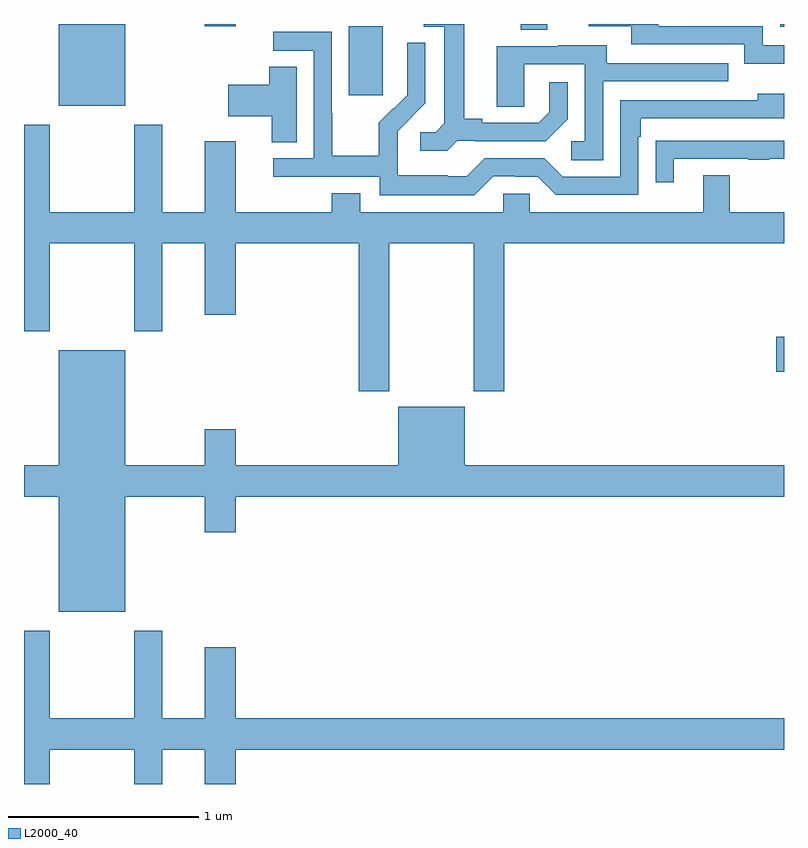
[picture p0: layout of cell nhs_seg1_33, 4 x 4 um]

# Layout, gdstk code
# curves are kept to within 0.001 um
import gdstk
lib = gdstk.Library(unit=1e-6, precision=1e-09)
def R(c, l, rs):  # rectangles x0, y0, x1, y1
    for r in rs: c.add(gdstk.rectangle(r[:2], r[2:], *l))
def P(c, l, *ps):  # polygons
    for p in ps: c.add(gdstk.Polygon(p, *l))
L2000_40 = (2000, 40)

nhs_seg1_33 = lib.new_cell('nhs_seg1_33')
R(nhs_seg1_33, L2000_40, [(114.96,572.369,115,572.552), (111.182,573.77,111.532,574.199), (112.709,573.825,112.888,574.186), (113.615,574.168,113.755,574.199), (114.981,574.185,115,574.199), (111.95,574.188,112.114,574.199)])
P(nhs_seg1_33, L2000_40, [(115,574.086),(114.888,574.086),(114.888,574.188),(114.337,574.188),(114.337,574.199),(113.973,574.199),(113.973,574.188),(114.197,574.188),(114.197,574.092),(114.792,574.092),(114.792,573.989),(115,573.989)],
  [(113.28,573.585),(113.374,573.585),(113.374,573.582),(113.746,573.582),(113.862,573.698),(113.862,573.892),(113.765,573.892),(113.765,573.735),(113.708,573.678),(113.413,573.678),(113.413,573.701),(113.317,573.701),(113.317,574.199),(113.103,574.199),(113.103,574.185),(113.213,574.185),(113.213,573.677),(113.166,573.63),(113.085,573.63),(113.085,573.533),(113.228,573.533)],
  [(113.469,573.399),(113.585,573.399),(113.585,573.396),(113.703,573.396),(113.799,573.3),(114.234,573.3),(114.234,573.605),(114.247,573.605),(114.247,573.702),(115,573.702),(115,573.832),(114.863,573.832),(114.863,573.798),(114.138,573.798),(114.138,573.396),(113.835,573.396),(113.739,573.492),(113.424,573.492),(113.331,573.399),(113.231,573.399),(113.231,573.403),(112.968,573.403),(112.968,573.537),(112.966,573.537),(112.966,573.634),(113.112,573.782),(113.112,574.1),(113.016,574.1),(113.016,573.946),(113.018,573.946),(113.018,573.824),(112.947,573.753),(112.944,573.756),(112.867,573.679),(112.867,573.505),(112.623,573.505),(112.623,573.728),(112.62,573.728),(112.62,574.158),(112.311,574.158),(112.311,574.059),(112.524,574.059),(112.524,573.492),(112.311,573.492),(112.311,573.396),(112.872,573.396),(112.872,573.299),(113.369,573.299)],
  [(114.048,573.897),(114.707,573.897),(114.707,573.993),(114.067,573.993),(114.067,574.087),(113.813,574.087),(113.813,574.083),(113.489,574.083),(113.489,573.763),(113.634,573.763),(113.634,573.987),(113.952,573.987),(113.952,573.582),(113.88,573.582),(113.88,573.481),(114.048,573.481)],
  [(112.435,573.974),(112.292,573.974),(112.292,573.879),(112.074,573.879),(112.074,573.713),(112.304,573.713),(112.304,573.577),(112.435,573.577)],
  [(112.923,573.044),(113.368,573.044),(113.368,572.265),(113.528,572.265),(113.528,573.044),(115,573.044),(115,573.208),(114.715,573.208),(114.715,573.403),(114.575,573.403),(114.575,573.208),(113.661,573.208),(113.661,573.306),(113.523,573.306),(113.523,573.208),(112.771,573.208),(112.771,573.307),(112.619,573.307),(112.619,573.208),(112.114,573.208),(112.114,573.583),(111.95,573.583),(111.95,573.208),(111.727,573.208),(111.727,573.67),(111.58,573.67),(111.58,573.208),(111.135,573.208),(111.135,573.67),(111,573.67),(111,572.583),(111.135,572.583),(111.135,573.044),(111.58,573.044),(111.58,572.583),(111.727,572.583),(111.727,573.044),(111.95,573.044),(111.95,572.67),(112.114,572.67),(112.114,573.044),(112.763,573.044),(112.763,572.265),(112.923,572.265)],
  [(114.421,573.489),(114.811,573.489),(114.811,573.484),(114.923,573.484),(114.923,573.489),(115,573.489),(115,573.585),(114.427,573.585),(114.427,573.584),(114.325,573.584),(114.325,573.366),(114.421,573.366)],
  [(111.532,571.712),(111.95,571.712),(111.95,571.524),(112.114,571.524),(112.114,571.712),(115,571.712),(115,571.876),(113.32,571.876),(113.32,572.185),(112.97,572.185),(112.97,571.876),(112.114,571.876),(112.114,572.065),(111.95,572.065),(111.95,571.876),(111.532,571.876),(111.532,572.482),(111.182,572.482),(111.182,571.876),(111,571.876),(111,571.712),(111.182,571.712),(111.182,571.106),(111.532,571.106)],
  [(111.135,570.38),(111.58,570.38),(111.58,570.199),(111.727,570.199),(111.727,570.38),(111.95,570.38),(111.95,570.199),(112.114,570.199),(112.114,570.38),(115,570.38),(115,570.544),(112.114,570.544),(112.114,570.919),(111.95,570.919),(111.95,570.544),(111.727,570.544),(111.727,571.006),(111.58,571.006),(111.58,570.544),(111.135,570.544),(111.135,571.006),(111,571.006),(111,570.199),(111.135,570.199)])

lib.write_gds('nhs_seg1_33.gds')
